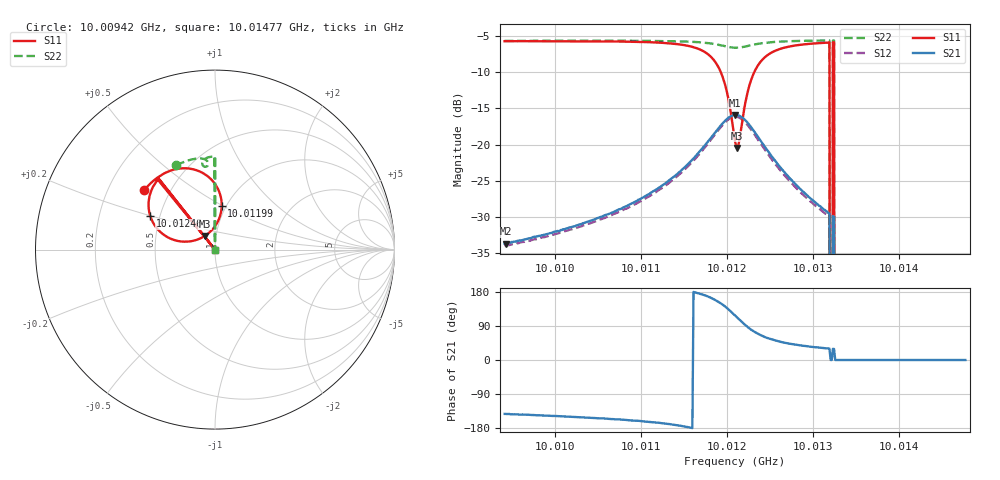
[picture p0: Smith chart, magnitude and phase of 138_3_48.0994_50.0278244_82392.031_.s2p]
#  HZ  S  RI  R  50.00
! Rohde & Schwarz Vector Network Analyzer
! Rohde-Schwarz,ZNB20-2Port,1311601062101988,3.16
! Created: UTC 12/23/2023, 3:48:29 AM
! freq[Hz]  re:S11  im:S11  re:S21  im:S21  re:S12  im:S12  re:S22  im:S22
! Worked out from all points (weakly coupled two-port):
!   401 points, 10.00942 GHz to 10.01477 GHz, reference 50 ohm
!   highest |S21| = -15.93 dB at 10.0121 GHz (marker M1); lowest = -33.7 dB at 10.00943 GHz (marker M2)
!   lowest |S11| = -20.5 dB at 10.01212 GHz (marker M3), VSWR 1.21, Z = 44.2 + j6.82 ohm
!   |S11| at or under -10 dB: 10.01193 GHz to 10.01232 GHz (391.3 kHz wide, 0.00391 % of centre); 10.01319 GHz to 10.01323 GHz (39.59 kHz wide, 0.000395 % of centre); 10.01325 GHz to end of sweep
!   |S22| runs from - to -5.7 dB; largest |S21 - S12| = 0.008
!   S11 on the Smith chart (normalised r, x): 10.00942 GHz: 0.36, +0.32; 10.01199 GHz: 0.95, +0.50; 10.01246 GHz: 0.44, +0.20; 10.01477 GHz: 1.00, +0.00
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1.0009419e10  -0.3949 0.3298  -0.0164 -0.0127  -0.0152 -0.013  -0.2165 0.4703
1.0009433e10  -0.3944 0.3308  -0.0164 -0.0126  -0.0153 -0.013  -0.2156 0.4707
1.0010316e10  -0.3401 0.386  -0.0249 -0.0136  -0.0234 -0.0143  -0.1609 0.493
1.0011213e10  -0.2394 0.4428  -0.0489 -0.0124  -0.0465 -0.0142  -0.0981 0.5074
1.0011762e10  -0.0618 0.423  -0.0995 0.0185  -0.0972 0.0132  -0.0495 0.4989
1.0011895e10  0.0112 0.348  -0.115 0.0549  -0.1147 0.0476  -0.0391 0.486
1.0011989e10  0.0375 0.2447  -0.1126 0.0953  -0.1136 0.0882  -0.0385 0.4728
1.0012096e10  -0.023 0.103  -0.0734 0.1419  -0.0772 0.1351  -0.0506 0.4614
1.0012123e10  -0.056 0.0765  -0.0584 0.1482  -0.0621 0.142  -0.055 0.4611
1.001215e10  -0.0929 0.0577  -0.0431 0.1514  -0.0462 0.1456  -0.0592 0.4622
1.0012203e10  -0.1705 0.0443  -0.0123 0.1491  -0.0166 0.1435  -0.0662 0.4668
1.0012284e10  -0.2691 0.0719  0.0227 0.1297  0.0174 0.1253  -0.0707 0.4781
1.0012458e10  -0.3604 0.1864  0.048 0.0806  0.0425 0.0789  -0.0629 0.4987
1.0012993e10  -0.3386 0.362  0.0342 0.0237  0.0316 0.0241  -0.0183 0.5188
1.0013167e10  -0.3214 0.3868  0.0296 0.0176  0.0273 0.0182  -0.00509 0.5203
1.0013194e10  -0.319 0.3901  0.0289 0.0169  0.0268 0.0174  -0.00306 0.5206
1.001322e10  0 0  0 0  0 0  0 0
1.0013234e10  -0.3151 0.3948  0.028 0.0158  0.0259 0.0165  3.69e-06 0.5208
1.0013261e10  0 0  0 0  0 0  0 0
1.0013287e10  0 0  0 0  0 0  0 0
1.001389e10  0 0  0 0  0 0  0 0
1.0014773e10  0 0  0 0  0 0  0 0
